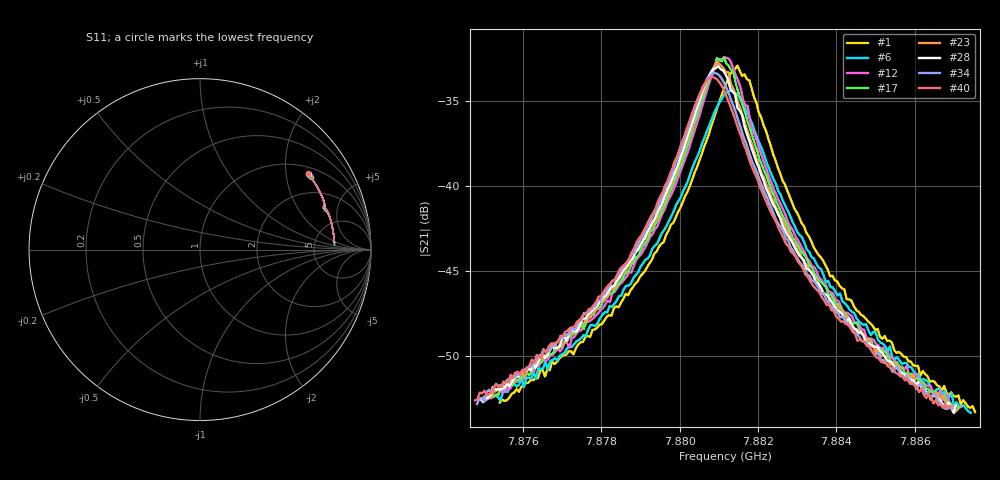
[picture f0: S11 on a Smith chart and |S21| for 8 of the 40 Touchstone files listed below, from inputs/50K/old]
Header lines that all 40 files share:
#  HZ  S  DB  R  50.00
! Rohde & Schwarz Vector Network Analyzer
! Rohde-Schwarz,ZNB20-2Port,1311601062101988,3.16
! freq[Hz]  db:S11  ang:S11  db:S21  ang:S21  db:S12  ang:S12  db:S22  ang:S22
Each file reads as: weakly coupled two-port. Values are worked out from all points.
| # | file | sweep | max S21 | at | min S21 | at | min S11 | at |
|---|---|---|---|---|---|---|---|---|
| 1 | 15_ST43.0_UT51.95_H-0.18.s2p | 7.87541 GHz to 7.88754 GHz | -32.90 dB | 7.88147 GHz | -53.3 dB | 7.88754 GHz | -2.4 dB | 7.88147 GHz |
| 2 | 18_ST43.001_UT51.953_H1721.06.s2p | 7.87545 GHz to 7.88758 GHz | -33.11 dB | 7.88151 GHz | -53.3 dB | 7.88758 GHz | -2.4 dB | 7.88151 GHz |
| 3 | 19_ST43.0_UT51.953_H2556.73.s2p | 7.87545 GHz to 7.88758 GHz | -32.78 dB | 7.88158 GHz | -53.2 dB | 7.88758 GHz | -2.4 dB | 7.88158 GHz |
| 4 | 20_ST42.999_UT51.953_H3396.44.s2p | 7.87543 GHz to 7.88756 GHz | -32.66 dB | 7.88144 GHz | -53.2 dB | 7.88756 GHz | -2.4 dB | 7.88156 GHz |
| 5 | 21_ST43.001_UT51.953_H4164.77.s2p | 7.87542 GHz to 7.88756 GHz | -32.57 dB | 7.88149 GHz | -53.2 dB | 7.88756 GHz | -2.4 dB | 7.88149 GHz |
| 6 | 24_ST43.002_UT51.952_H6669.89.s2p | 7.8753 GHz to 7.88743 GHz | -34.38 dB | 7.8813 GHz | -53.3 dB | 7.88743 GHz | -2.3 dB | 7.88124 GHz |
| 7 | 25_ST42.999_UT51.952_H7461.96.s2p | 7.87517 GHz to 7.8873 GHz | -34.04 dB | 7.88118 GHz | -53.3 dB | 7.8873 GHz | -2.3 dB | 7.88118 GHz |
| 8 | 26_ST43.002_UT51.951_H8290.3.s2p | 7.8751 GHz to 7.88723 GHz | -32.92 dB | 7.88116 GHz | -53.4 dB | 7.88717 GHz | -2.4 dB | 7.8811 GHz |
| 9 | 27_ST43.002_UT51.95_H9118.67.s2p | 7.8751 GHz to 7.88723 GHz | -32.63 dB | 7.88116 GHz | -53.3 dB | 7.88711 GHz | -2.4 dB | 7.88116 GHz |
| 10 | 29_ST43.0_UT51.951_H10792.99.s2p | 7.87509 GHz to 7.88722 GHz | -32.38 dB | 7.8811 GHz | -53.2 dB | 7.88716 GHz | -2.4 dB | 7.88116 GHz |
| 11 | 30_ST43.003_UT51.95_H11585.8.s2p | 7.87508 GHz to 7.88721 GHz | -32.40 dB | 7.88114 GHz | -53.5 dB | 7.88715 GHz | -2.4 dB | 7.88114 GHz |
| 12 | 32_ST42.998_UT51.947_H13241.96.s2p | 7.87506 GHz to 7.88719 GHz | -32.42 dB | 7.88113 GHz | -53.0 dB | 7.88695 GHz | -2.4 dB | 7.88113 GHz |
| 13 | 35_ST42.999_UT51.944_H15690.92.s2p | 7.87507 GHz to 7.8872 GHz | -32.17 dB | 7.88113 GHz | -53.3 dB | 7.8872 GHz | -2.4 dB | 7.88113 GHz |
| 14 | 36_ST43.0_UT51.941_H16537.22.s2p | 7.87505 GHz to 7.88718 GHz | -32.36 dB | 7.88118 GHz | -53.2 dB | 7.88718 GHz | -2.4 dB | 7.88112 GHz |
| 15 | 38_ST42.997_UT51.938_H18193.08.s2p | 7.87502 GHz to 7.88715 GHz | -32.32 dB | 7.88102 GHz | -53.0 dB | 7.88703 GHz | -2.4 dB | 7.88114 GHz |
| 16 | 40_ST42.998_UT51.935_H19849.38.s2p | 7.87502 GHz to 7.88716 GHz | -32.33 dB | 7.88109 GHz | -53.4 dB | 7.88716 GHz | -2.4 dB | 7.88109 GHz |
| 17 | 41_ST42.999_UT51.932_H20623.75.s2p | 7.875 GHz to 7.88713 GHz | -32.43 dB | 7.88113 GHz | -53.2 dB | 7.88707 GHz | -2.4 dB | 7.88107 GHz |
| 18 | 43_ST43.002_UT51.928_H22333.93.s2p | 7.87499 GHz to 7.88712 GHz | -32.55 dB | 7.881 GHz | -53.1 dB | 7.88694 GHz | -2.4 dB | 7.88106 GHz |
| 19 | 44_ST43.002_UT51.927_H23144.03.s2p | 7.87499 GHz to 7.88712 GHz | -32.57 dB | 7.88105 GHz | -53.1 dB | 7.87499 GHz | -2.4 dB | 7.88105 GHz |
| 20 | 47_ST43.0_UT51.92_H25610.85.s2p | 7.87496 GHz to 7.88709 GHz | -32.57 dB | 7.88103 GHz | -53.2 dB | 7.88709 GHz | -2.4 dB | 7.88103 GHz |
| 21 | 49_ST42.998_UT51.916_H27212.83.s2p | 7.87495 GHz to 7.88708 GHz | -32.70 dB | 7.88101 GHz | -53.2 dB | 7.88695 GHz | -2.4 dB | 7.88101 GHz |
| 22 | 50_ST43.002_UT51.914_H28059.14.s2p | 7.87494 GHz to 7.88707 GHz | -32.67 dB | 7.88107 GHz | -53.4 dB | 7.88707 GHz | -2.4 dB | 7.88095 GHz |
| 23 | 51_ST42.998_UT51.91_H28833.76.s2p | 7.87494 GHz to 7.88707 GHz | -32.67 dB | 7.88094 GHz | -53.3 dB | 7.88701 GHz | -2.4 dB | 7.88106 GHz |
| 24 | 52_ST42.998_UT51.908_H29679.71.s2p | 7.87494 GHz to 7.88707 GHz | -32.86 dB | 7.88094 GHz | -53.5 dB | 7.88701 GHz | -2.4 dB | 7.88094 GHz |
| 25 | 53_ST42.998_UT51.906_H30508.01.s2p | 7.87493 GHz to 7.88706 GHz | -32.77 dB | 7.88093 GHz | -53.3 dB | 7.887 GHz | -2.4 dB | 7.88099 GHz |
| 26 | 54_ST43.0_UT51.904_H31299.9.s2p | 7.87492 GHz to 7.88705 GHz | -32.66 dB | 7.88098 GHz | -53.1 dB | 7.88705 GHz | -2.4 dB | 7.88092 GHz |
| 27 | 55_ST43.004_UT51.901_H32128.33.s2p | 7.87492 GHz to 7.88705 GHz | -32.76 dB | 7.88104 GHz | -53.1 dB | 7.88699 GHz | -2.4 dB | 7.88098 GHz |
| 28 | 56_ST43.002_UT51.898_H32974.36.s2p | 7.87492 GHz to 7.88705 GHz | -32.94 dB | 7.88099 GHz | -53.3 dB | 7.88699 GHz | -2.4 dB | 7.88099 GHz |
| 29 | 61_ST43.0_UT51.885_H37078.51.s2p | 7.87487 GHz to 7.887 GHz | -32.90 dB | 7.881 GHz | -53.2 dB | 7.88694 GHz | -2.4 dB | 7.88094 GHz |
| 30 | 62_ST43.0_UT51.883_H37906.99.s2p | 7.87486 GHz to 7.887 GHz | -33.12 dB | 7.88093 GHz | -53.4 dB | 7.88687 GHz | -2.4 dB | 7.88087 GHz |
| 31 | 63_ST43.001_UT51.879_H38717.75.s2p | 7.87486 GHz to 7.88699 GHz | -33.17 dB | 7.88093 GHz | -53.3 dB | 7.88699 GHz | -2.4 dB | 7.88093 GHz |
| 32 | 65_ST42.998_UT51.873_H40373.66.s2p | 7.87485 GHz to 7.88698 GHz | -33.24 dB | 7.88092 GHz | -52.9 dB | 7.88674 GHz | -2.4 dB | 7.88086 GHz |
| 33 | 66_ST42.999_UT51.871_H41183.48.s2p | 7.87485 GHz to 7.88698 GHz | -33.26 dB | 7.88091 GHz | -53.3 dB | 7.88698 GHz | -2.4 dB | 7.88091 GHz |
| 34 | 69_ST42.999_UT51.864_H43650.65.s2p | 7.87482 GHz to 7.88696 GHz | -33.34 dB | 7.88089 GHz | -53.1 dB | 7.88683 GHz | -2.4 dB | 7.88089 GHz |
| 35 | 70_ST43.001_UT51.86_H44496.54.s2p | 7.87482 GHz to 7.88695 GHz | -33.38 dB | 7.88089 GHz | -53.4 dB | 7.88695 GHz | -2.4 dB | 7.88089 GHz |
| 36 | 71_ST43.001_UT51.858_H45270.62.s2p | 7.87481 GHz to 7.88694 GHz | -33.40 dB | 7.88088 GHz | -53.3 dB | 7.88694 GHz | -2.4 dB | 7.88088 GHz |
| 37 | 73_ST43.002_UT51.851_H46926.95.s2p | 7.8748 GHz to 7.88693 GHz | -33.45 dB | 7.88087 GHz | -53.3 dB | 7.88687 GHz | -2.4 dB | 7.88093 GHz |
| 38 | 74_ST43.003_UT51.848_H47755.38.s2p | 7.8748 GHz to 7.88693 GHz | -33.49 dB | 7.88086 GHz | -53.2 dB | 7.88693 GHz | -2.4 dB | 7.8808 GHz |
| 39 | 76_ST42.998_UT51.843_H49375.42.s2p | 7.87479 GHz to 7.88692 GHz | -33.51 dB | 7.88085 GHz | -53.2 dB | 7.88673 GHz | -2.4 dB | 7.88085 GHz |
| 40 | 78_ST43.002_UT51.837_H51014.04.s2p | 7.87477 GHz to 7.8869 GHz | -33.57 dB | 7.88084 GHz | -53.1 dB | 7.88684 GHz | -2.4 dB | 7.8809 GHz |
